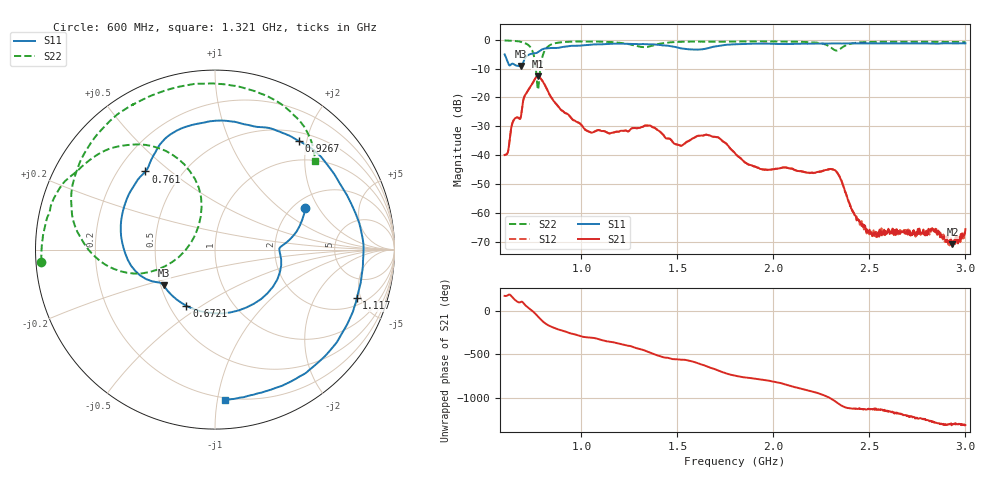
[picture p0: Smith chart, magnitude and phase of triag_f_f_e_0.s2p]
#  HZ  S  RI  R  50.00
! Rohde & Schwarz ZVB8 2Ports - Version 2.81 - 1145.1010k08 SN: 100113
! Date: 2016-05-03 01:38:10
! Measurements: S11 S21 S12 S22
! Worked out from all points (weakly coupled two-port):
!   1000 points, 600 MHz to 3 GHz, reference 50 ohm
!   highest |S21| = -12.70 dB at 773 MHz (marker M1); lowest = -70.8 dB at 2.933 GHz (marker M2)
!   lowest |S11| = -9.1 dB at 686.5 MHz (marker M3), VSWR 2.07, Z = 25.9 - j11.8 ohm
!   |S11| at or under -10 dB: nowhere
!   |S22| runs from -17.3 to -0.3 dB; largest |S21 - S12| = 0.0032
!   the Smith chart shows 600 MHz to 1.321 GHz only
!   S11 on the Smith chart (normalised r, x): 600 MHz: 2.30, +1.55; 672.1 MHz: 0.61, -0.44; 761 MHz: 0.31, +0.41; 926.7 MHz: 0.64, +1.86; 1.117 GHz: 2.59, -4.61; 1.321 GHz: 0.19, -1.05
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6e8  0.504 0.2335  -0.01 0.00129  -0.01 0.00125  -0.9672 -0.0684
6.720721e8  -0.1594 -0.3138  -0.00714 0.0438  -0.00738 0.0437  -0.8841 0.3109
6.864865e8  -0.2863 -0.1996  -0.0139 0.0481  -0.0143 0.0479  -0.823 0.3929
7.345345e8  -0.4986 0.2624  0.1471 0.0437  0.1467 0.0429  -0.4533 0.5854
7.60961e8  -0.3872 0.4356  0.178 -0.1243  0.1776 -0.1223  -0.0898 0.3437
7.72973e8  -0.361 0.4867  0.101 -0.2085  0.1029 -0.2088  -0.1106 0.081
8.306306e8  -0.0402 0.7126  -0.116 -0.0212  -0.1156 -0.0212  -0.7738 0.1148
9.267267e8  0.4676 0.6055  -0.0218 0.0474  -0.022 0.0471  -0.6504 0.6482
1.001201e9  0.7292 0.3139  0.0137 0.0302  0.0135 0.0302  -0.3954 0.84
1.116517e9  0.7898 -0.2703  0.0248 0.00854  0.0247 0.00858  0.0633 0.9196
1.320721e9  0.0556 -0.8377  0.000665 -0.0312  0.000916 -0.0312  0.5597 0.4916
1.4e9  -0.2963 -0.7608  -0.0244 -0.0115  -0.0244 -0.0115  0.7232 0.4278
1.568168e9  -0.5951 -0.3248  -0.0147 0.011  -0.0147 0.0109  0.9056 -0.202
1.801201e9  -0.7835 0.2853  0.00954 -0.00486  0.00944 -0.00476  0.3969 -0.8363
2.000601e9  -0.2462 0.8093  -0.000251 -0.00572  -0.000187 -0.00572  -0.2315 -0.8991
2.2e9  0.4893 0.7007  -0.00443 0.0023  -0.00448 0.0022  -0.7085 -0.5617
2.322523e9  0.8061 0.3023  0.00427 0.00343  0.00422 0.00347  -0.6074 -0.2423
2.399399e9  0.8621 -0.0213  0.000986 -0.000877  0.00105 -0.000834  -0.7788 -0.3347
2.502703e9  0.7421 -0.4396  0.000252 -0.000361  0.000308 -0.000361  -0.9102 -0.068
2.601201e9  0.4613 -0.728  9.58e-05 -0.000466  6.32e-05 -0.000492  -0.9044 0.1746
2.932733e9  -0.6541 -0.5651  -0.000214 0.000191  -0.000261 0.000203  -0.4664 0.7877
3e9  -0.7806 -0.367  -0.000316 0.000422  -0.000227 0.000327  -0.3166 0.8516
